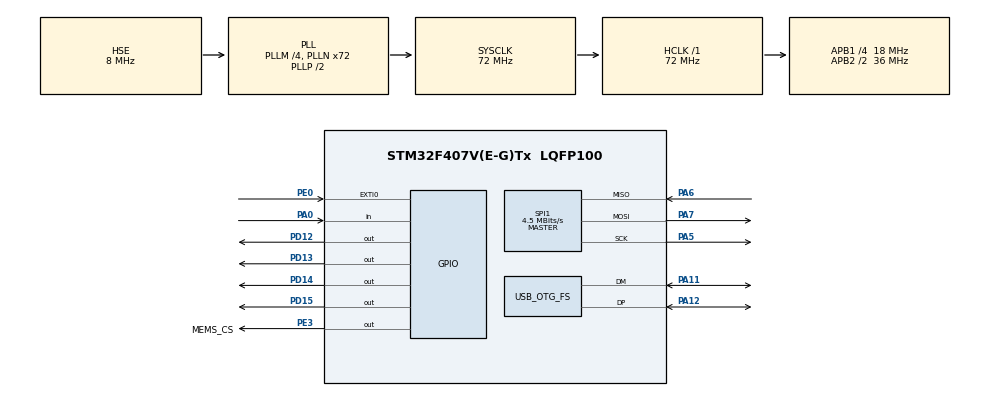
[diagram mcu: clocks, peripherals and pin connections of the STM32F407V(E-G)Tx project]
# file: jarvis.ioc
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Mcu.Family=STM32F4
Mcu.Name=STM32F407V(E-G)Tx
Mcu.Package=LQFP100
NVIC.EXTI0_IRQn=true\:0\:0\:false\:false\:true\:true\:true\:true
NVIC.OTG_FS_IRQn=true\:0\:0\:false\:false\:true\:false\:true\:true
NVIC.PriorityGroup=NVIC_PRIORITYGROUP_4
PA0-WKUP.Signal=GPIO_Input
PA11.Mode=Device_Only
PA11.Signal=USB_OTG_FS_DM
PA12.Mode=Device_Only
PA12.Signal=USB_OTG_FS_DP
PA5.Mode=Full_Duplex_Master
PA5.Signal=SPI1_SCK
PA6.Mode=Full_Duplex_Master
PA6.Signal=SPI1_MISO
PA7.Mode=Full_Duplex_Master
PA7.Signal=SPI1_MOSI
PD12.Signal=GPIO_Output
PD13.Signal=GPIO_Output
PD14.Signal=GPIO_Output
PD15.Signal=GPIO_Output
PE0.Signal=GPXTI0
PE3.GPIO_Label=MEMS_CS
PE3.Signal=GPIO_Output
PH0-OSC_IN.Mode=HSE-External-Oscillator
PH0-OSC_IN.Signal=RCC_OSC_IN
PH1-OSC_OUT.Mode=HSE-External-Oscillator
PH1-OSC_OUT.Signal=RCC_OSC_OUT
ProjectManager.HeapSize=0x200
ProjectManager.StackSize=0x400
ProjectManager.TargetToolchain=STM32CubeIDE
RCC.48MHZClocksFreq_Value=48000000
RCC.AHBFreq_Value=72000000
RCC.APB1CLKDivider=RCC_HCLK_DIV4
RCC.APB1Freq_Value=18000000
RCC.APB1TimFreq_Value=36000000
RCC.APB2CLKDivider=RCC_HCLK_DIV2
RCC.APB2Freq_Value=36000000
RCC.APB2TimFreq_Value=72000000
RCC.CortexFreq_Value=72000000
RCC.HCLKFreq_Value=72000000
RCC.HSE_VALUE=8000000
RCC.HSI_VALUE=16000000
RCC.LSE_VALUE=32768
RCC.PLLM=4
RCC.PLLN=72
RCC.PLLQ=3
RCC.SYSCLKFreq_VALUE=72000000
RCC.SYSCLKSource=RCC_SYSCLKSOURCE_PLLCLK
RCC.VCOOutputFreq_Value=144000000
SPI1.BaudRatePrescaler=SPI_BAUDRATEPRESCALER_8
SPI1.CalculateBaudRate=4.5 MBits/s
SPI1.Direction=SPI_DIRECTION_2LINES
SPI1.Mode=SPI_MODE_MASTER
SPI1.VirtualType=VM_MASTER
USB_DEVICE.CLASS_NAME_FS=CDC
USB_DEVICE.VirtualMode-CDC_FS=Cdc
USB_DEVICE.VirtualModeFS=Cdc_FS
USB_OTG_FS.VirtualMode=Device_Only
VP_USB_DEVICE_VS_USB_DEVICE_CDC_FS.Mode=CDC_FS
board=custom

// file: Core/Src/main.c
/* USER CODE BEGIN Header */
/**
  ******************************************************************************
  * @file           : main.c
  * @brief          : Main program body
  ******************************************************************************
  * @attention
  *
  * Copyright (c) 2022 STMicroelectronics.
  * All rights reserved.
  *
  * This software is licensed under terms that can be found in the LICENSE file
  * in the root directory of this software component.
  * If no LICENSE file comes with this software, it is provided AS-IS.
  *
  ******************************************************************************
  */
/* USER CODE END Header */
#include "main.h"
#include "usb_device.h"

/* USER CODE BEGIN Includes */
#include "MY_LIS3DSH.h"
/* USER CODE END Includes */

SPI_HandleTypeDef hspi1;

/* USER CODE BEGIN PV */
/* Private variables ---------------------------------------------------------*/
LIS3DSH_DataScaled mydata;
char taylor[41];
char evermore[177];
/* USER CODE END PV */

void SystemClock_Config(void);
static void MX_GPIO_Init(void);
static void MX_SPI1_Init(void);
/* USER CODE BEGIN PFP */
/* Private function prototypes -----------------------------------------------*/

/* USER CODE END PFP */

/* USER CODE BEGIN 0 */

uint8_t drdyFlag=0;
int workingarea;
/* USER CODE END 0 */

int main(void)
{
  /* USER CODE BEGIN 1 */
	LIS3DSH_InitTypeDef myAccConfigDef;
  /* USER CODE END 1 */

  /* MCU Configuration--------------------------------------------------------*/

  /* Reset of all peripherals, Initializes the Flash interface and the Systick. */
  HAL_Init();

  /* USER CODE BEGIN Init */
  //HAL_TIM_Base_Start_IT(&htim7);//first IT

  /* USER CODE END Init */

  /* Configure the system clock */
  SystemClock_Config();

  /* Initialize all configured peripherals */
  MX_GPIO_Init();
  MX_SPI1_Init();
  MX_USB_DEVICE_Init();
  /* USER CODE BEGIN 2 */

	myAccConfigDef.dataRate = LIS3DSH_DATARATE_25;
	myAccConfigDef.fullScale = LIS3DSH_FULLSCALE_4;
	myAccConfigDef.antiAliasingBW = LIS3DSH_FILTER_BW_50;
	myAccConfigDef.enableAxes = LIS3DSH_XYZ_ENABLE;
	myAccConfigDef.interruptEnable = true;
	LIS3DSH_Init(&hspi1, &myAccConfigDef);

	LIS3DSH_X_calibrate(-1000.0, 980.0);
	LIS3DSH_Y_calibrate(-1020.0, 1040.0);
	LIS3DSH_Z_calibrate(-920.0, 1040.0);
	CDC_Transmit_FS((uint8_t*) "\n", (uint16_t) strlen("\n"));

  /* USER CODE END 2 */

  /* Infinite loop */
  while (1)
  {

    /* USER CODE BEGIN 3 */
	  if(drdyFlag == 1)
	  {
	  		drdyFlag = 0;
	  		mydata = LIS3DSH_GetDataScaled();
	  		HAL_GPIO_TogglePin(GPIOD, GPIO_PIN_12);
			memset(evermore,'\0',sizeof(evermore));
	        snprintf(taylor, sizeof(taylor), "%f,", mydata.x);
	        strcat(evermore, taylor);
	        memset(taylor,'\0',sizeof(taylor));
	        snprintf(taylor, sizeof(taylor), "%f,", mydata.y);
	        strcat(evermore, taylor);
	        memset(taylor,'\0',sizeof(taylor));
	        snprintf(taylor, sizeof(taylor),"%f\n,",mydata.z);
	        strcat(evermore, taylor);
	        memset(taylor,'\0',sizeof(taylor));
	    	CDC_Transmit_FS((uint8_t*) evermore, (uint16_t) strlen(evermore));
	  }
  }
  /* USER CODE END 3 */
}

void SystemClock_Config(void)
{
  RCC_OscInitTypeDef RCC_OscInitStruct = {0};
  RCC_ClkInitTypeDef RCC_ClkInitStruct = {0};

  /** Configure the main internal regulator output voltage
  */
  __HAL_RCC_PWR_CLK_ENABLE();
  __HAL_PWR_VOLTAGESCALING_CONFIG(PWR_REGULATOR_VOLTAGE_SCALE1);

  /** Initializes the RCC Oscillators according to the specified parameters
  * in the RCC_OscInitTypeDef structure.
  */
  RCC_OscInitStruct.OscillatorType = RCC_OSCILLATORTYPE_HSE;
  RCC_OscInitStruct.HSEState = RCC_HSE_ON;
  RCC_OscInitStruct.PLL.PLLState = RCC_PLL_ON;
  RCC_OscInitStruct.PLL.PLLSource = RCC_PLLSOURCE_HSE;
  RCC_OscInitStruct.PLL.PLLM = 4;
  RCC_OscInitStruct.PLL.PLLN = 72;
  RCC_OscInitStruct.PLL.PLLP = RCC_PLLP_DIV2;
  RCC_OscInitStruct.PLL.PLLQ = 3;
  if (HAL_RCC_OscConfig(&RCC_OscInitStruct) != HAL_OK)
  {
    Error_Handler();
  }

  /** Initializes the CPU, AHB and APB buses clocks
  */
  RCC_ClkInitStruct.ClockType = RCC_CLOCKTYPE_HCLK|RCC_CLOCKTYPE_SYSCLK
                              |RCC_CLOCKTYPE_PCLK1|RCC_CLOCKTYPE_PCLK2;
  RCC_ClkInitStruct.SYSCLKSource = RCC_SYSCLKSOURCE_PLLCLK;
  RCC_ClkInitStruct.AHBCLKDivider = RCC_SYSCLK_DIV1;
  RCC_ClkInitStruct.APB1CLKDivider = RCC_HCLK_DIV4;
  RCC_ClkInitStruct.APB2CLKDivider = RCC_HCLK_DIV2;

  if (HAL_RCC_ClockConfig(&RCC_ClkInitStruct, FLASH_LATENCY_2) != HAL_OK)
  {
    Error_Handler();
  }
}

static void MX_SPI1_Init(void)
{

  /* SPI1 parameter configuration*/
  hspi1.Instance = SPI1;
  hspi1.Init.Mode = SPI_MODE_MASTER;
  hspi1.Init.Direction = SPI_DIRECTION_2LINES;
  hspi1.Init.DataSize = SPI_DATASIZE_8BIT;
  hspi1.Init.CLKPolarity = SPI_POLARITY_LOW;
  hspi1.Init.CLKPhase = SPI_PHASE_1EDGE;
  hspi1.Init.NSS = SPI_NSS_SOFT;
  hspi1.Init.BaudRatePrescaler = SPI_BAUDRATEPRESCALER_8;
  hspi1.Init.FirstBit = SPI_FIRSTBIT_MSB;
  hspi1.Init.TIMode = SPI_TIMODE_DISABLE;
  hspi1.Init.CRCCalculation = SPI_CRCCALCULATION_DISABLE;
  hspi1.Init.CRCPolynomial = 10;
  if (HAL_SPI_Init(&hspi1) != HAL_OK)
  {
    Error_Handler();
  }

}

static void MX_GPIO_Init(void)
{
  GPIO_InitTypeDef GPIO_InitStruct = {0};

  /* GPIO Ports Clock Enable */
  __HAL_RCC_GPIOE_CLK_ENABLE();
  __HAL_RCC_GPIOH_CLK_ENABLE();
  __HAL_RCC_GPIOA_CLK_ENABLE();
  __HAL_RCC_GPIOD_CLK_ENABLE();

  /*Configure GPIO pin Output Level */
  HAL_GPIO_WritePin(MEMS_CS_GPIO_Port, MEMS_CS_Pin, GPIO_PIN_RESET);

  /*Configure GPIO pin Output Level */
  HAL_GPIO_WritePin(GPIOD, GPIO_PIN_12|GPIO_PIN_13|GPIO_PIN_14|GPIO_PIN_15, GPIO_PIN_RESET);

  /*Configure GPIO pin : MEMS_CS_Pin */
  GPIO_InitStruct.Pin = MEMS_CS_Pin;
  GPIO_InitStruct.Mode = GPIO_MODE_OUTPUT_PP;
  GPIO_InitStruct.Pull = GPIO_NOPULL;
  GPIO_InitStruct.Speed = GPIO_SPEED_FREQ_LOW;
  HAL_GPIO_Init(MEMS_CS_GPIO_Port, &GPIO_InitStruct);

  /*Configure GPIO pin : PA0 */
  GPIO_InitStruct.Pin = GPIO_PIN_0;
  GPIO_InitStruct.Mode = GPIO_MODE_INPUT;
  GPIO_InitStruct.Pull = GPIO_NOPULL;
  HAL_GPIO_Init(GPIOA, &GPIO_InitStruct);

  /*Configure GPIO pins : PD12 PD13 PD14 PD15 */
  GPIO_InitStruct.Pin = GPIO_PIN_12|GPIO_PIN_13|GPIO_PIN_14|GPIO_PIN_15;
  GPIO_InitStruct.Mode = GPIO_MODE_OUTPUT_PP;
  GPIO_InitStruct.Pull = GPIO_NOPULL;
  GPIO_InitStruct.Speed = GPIO_SPEED_FREQ_LOW;
  HAL_GPIO_Init(GPIOD, &GPIO_InitStruct);

  /*Configure GPIO pin : PE0 */
  GPIO_InitStruct.Pin = GPIO_PIN_0;
  GPIO_InitStruct.Mode = GPIO_MODE_IT_RISING;
  GPIO_InitStruct.Pull = GPIO_NOPULL;
  HAL_GPIO_Init(GPIOE, &GPIO_InitStruct);

  /* EXTI interrupt init*/
  HAL_NVIC_SetPriority(EXTI0_IRQn, 0, 0);
  HAL_NVIC_EnableIRQ(EXTI0_IRQn);

}

/* USER CODE BEGIN 4 */
void HAL_GPIO_EXTI_Callback(uint16_t GPIO_Pin)
{
  /* Prevent unused argument(s) compilation warning */
  UNUSED(GPIO_Pin);
  /* NOTE: This function Should not be modified, when the callback is needed,
           the HAL_GPIO_EXTI_Callback could be implemented in the user file
   */
		drdyFlag = 1;
		HAL_GPIO_TogglePin(GPIOD, GPIO_PIN_13);

}

/* USER CODE END 4 */

void Error_Handler(void)
{
  while(1)
  {
  }
}
